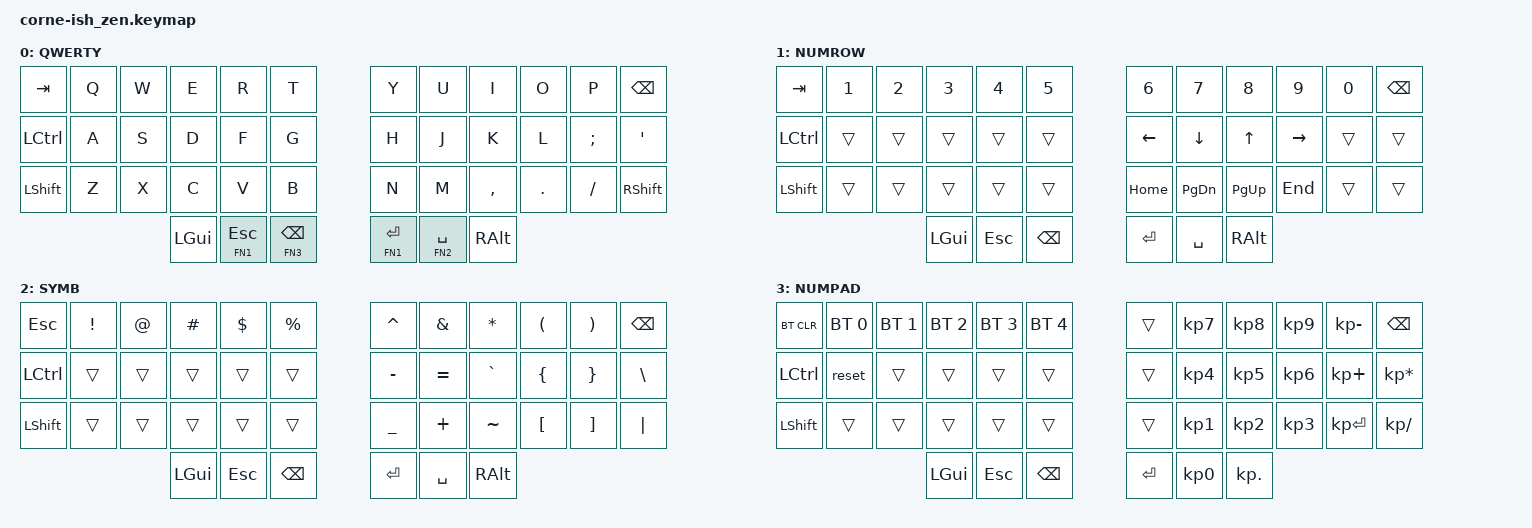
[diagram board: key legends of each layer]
/*
*
* Copyright (c) 2021 lowprokb.ca
* SPDX-License-Identifier: MIT
*
*/

#include <behaviors.dtsi>
#include <dt-bindings/zmk/keys.h>
#include <dt-bindings/zmk/bt.h>

#define FN1 1
#define FN2 2
#define FN3 3

#define LT1ESC &lt FN1 ESC
#define LT1RET &lt FN1 RET
#define LT2SPC &lt FN2 SPACE
#define LT3BKSP &lt FN3 BSPC
#define BTCLR &bt BT_CLR
#define BTSEL0 &bt BT_SEL 0 
#define BTSEL1 &bt BT_SEL 1 
#define BTSEL2 &bt BT_SEL 2 
#define BTSEL3 &bt BT_SEL 3 
#define BTSEL4 &bt BT_SEL 4 
/ {
        keymap {
                compatible = "zmk,keymap";

                _base {
                        label = "QWERTY";

// -----------------------------------------------------------------------------------------
// | TAB  |  Q  |  W  |  E  |  R  |  T  |   |  Y  |  U   |  I  |  O  |  P  | BKSP |
// | CTRL |  A  |  S  |  D  |  F  |  G  |   |  H  |  J   |  K  |  L  |  ;  |  '   |
// | SHFT |  Z  |  X  |  C  |  V  |  B  |   |  N  |  M   |  ,  |  .  |  /  | SHFT |
//                    | GUI | 1esc| 3bks|   | 1ent | 2spc  | ALT |
                        bindings = <
   &kp TAB   &kp Q &kp W &kp E &kp R &kp T   &kp Y  &kp U   &kp I     &kp O   &kp P    &kp BSPC
   &kp LCTRL &kp A &kp S &kp D &kp F &kp G   &kp H  &kp J   &kp K     &kp L   &kp SEMI &kp SQT
   &kp LSHFT &kp Z &kp X &kp C &kp V &kp B   &kp N  &kp M   &kp COMMA &kp DOT &kp FSLH &kp RSHFT
                &kp LGUI  LT1ESC  LT3BKSP    LT1RET LT2SPC &kp RALT
                        >;
                };
                _fn1 {
                        label = "NUMROW";

// -----------------------------------------------------------------------------------------
// |  TAB |  1  |  2  |  3  |  4  |  5  |   |  6  |  7  |  8  |  9  |  0  | BKSP |
// | CTRL |     |     |     |     |     |   | LFT | DWN |  UP | RGT |     |      |
// | SHFT |     |     |     |     |     |   | HOME| PDN |  PUP| END |     |      |
//                    | GUI |     | BKSP|   | RET | SPC | ALT |
                        bindings = <
   &kp TAB   &kp N1  &kp N2 &kp N3 &kp N4 &kp N5    &kp N6   &kp N7    &kp N8    &kp N9    &kp N0 &kp BSPC
   &kp LCTRL &trans  &trans &trans &trans &trans    &kp LEFT &kp DOWN  &kp UP    &kp RIGHT &trans &trans
   &kp LSHFT &trans  &trans &trans &trans &trans    &kp HOME &kp PG_DN &kp PG_UP &kp END   &trans &trans
                  &kp LGUI    &kp ESC     &kp BSPC    &kp RET    &kp SPACE    &kp RALT
                        >;
                };

                _fn2 {
                        label = "SYMB";

// -----------------------------------------------------------------------------------------
// |  ESC |  !  |  @  |  #  |  $  |  %  |   |  ^  |  &  |  *  |  (  |  )  | BKSP |
// | CTRL |     |     |     |     |     |   |  -  |  =  |  `  |  {  |  }  |  \   |
// | SHFT |     |     |     |     |     |   |  _  |  +  |  ~  |  [  |  ]  | "|"  | // TODO: Fix this row when &mkp is committed
//                    | GUI |     | BKSP|   | RET | SPC | ALT |
                        bindings = <
   &kp ESC   &kp EXCL &kp AT  &kp HASH &kp DLLR  &kp PRCNT   &kp CARET &kp AMPS  &kp STAR  &kp LPAR &kp RPAR &kp BSPC
   &kp LCTRL &trans   &trans  &trans   &trans    &trans      &kp MINUS &kp EQUAL &kp GRAVE &kp LBRC &kp RBRC &kp BSLH
   &kp LSHFT &trans   &trans  &trans   &trans    &trans      &kp UNDER &kp PLUS  &kp TILDE &kp LBKT &kp RBKT &kp PIPE
                      &kp LGUI      &kp ESC      &kp BSPC    &kp RET &kp SPACE &kp RALT
                        >;
                };

                _fn3 {
                        label = "NUMPAD";

// -----------------------------------------------------------------------------------------
// | BTCLR| BT0 | BT1 | BT2 | BT3 | BT4 |   |     |  7  |  8  |  9  |  -  | BKSP |
// | CTRL | rst |     |     |     |     |   |     |  4  |  5  |  6  |  +  |  *   |
// | SHFT |     |     |     |     |     |   |     |  1  |  2  |  3  | ENT |  /   | // TODO: Fix this row when &mkp is committed
//                    | GUI |     | BKSP|   | RET |  0  |  .  |
                        bindings = <
   BTCLR     BTSEL0   BTSEL1  BTSEL2   BTSEL3    BTSEL4      &trans &kp KP_N7 &kp KP_N8  &kp KP_N9 &kp KP_MINUS &kp BSPC
   &kp LCTRL &reset   &trans  &trans   &trans    &trans      &trans &kp KP_N4 &kp KP_N5  &kp KP_N6 &kp KP_PLUS  &kp KP_MULTIPLY
   &kp LSHFT &trans   &trans  &trans   &trans    &trans      &trans &kp KP_N1 &kp KP_N2  &kp KP_N3 &kp KP_ENTER &kp KP_SLASH
                      &kp LGUI     &kp ESC     &kp BSPC      &kp RET   &kp KP_N0   &kp KP_DOT
                        >;
                };
        };
};
